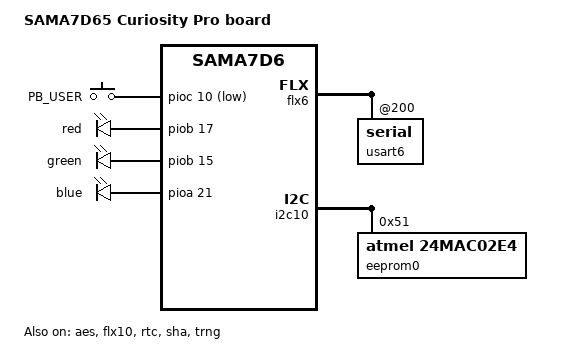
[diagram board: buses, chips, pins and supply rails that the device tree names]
/*
 * Copyright (C) 2026 Microchip Technology Inc.
 *
 * SPDX-License-Identifier: Apache-2.0
 *
 */

/dts-v1/;
#include <common/freq.h>
#include <dt-bindings/sam/sama7d6/sama7d65/sama7d65-pinctrl.h>
#include <microchip/sam/sama7/sama7d6/sama7d65.dtsi>
#include <zephyr/dt-bindings/mfd/mfd_mchp_sam_flexcom.h>
#include <zephyr/dt-bindings/gpio/gpio.h>
#include <zephyr/dt-bindings/gpio/microchip-sam-gpio.h>
#include <zephyr/dt-bindings/input/input-event-codes.h>

/ {
	compatible = "microchip,sama7d65-cpro", "microchip,sama7d6", "microchip,sama7";
	model = "SAMA7D65 Curiosity Pro board";

	aliases {
		led0 = &led_green;
		eeprom-0 = &eeprom0;
		rtc = &rtc;
		sw0 = &button_user;
	};

	chosen {
		zephyr,sram = &ddram;
		zephyr,console = &usart6;
		zephyr,entropy = &trng;
		zephyr,shell-uart = &usart6;
		zephyr,system-timer = &pit64b0;
	};

	clocks {
		main_xtal {
			clock-frequency = <DT_FREQ_M(24)>;
		};

		slow_xtal {
			clock-frequency = <32768>;
		};
	};

	gpio_keys {
		compatible = "gpio-keys";
		status = "okay";

		button_user: button_0 {
			label = "PB_USER";
			gpios = <&pioc 10 (GPIO_PULL_UP | GPIO_ACTIVE_LOW)>;
			zephyr,code = <INPUT_KEY_0>;
		};
	};

	leds {
		compatible = "gpio-leds";
		status = "okay";

		led_red: red {
			label = "red";
			gpios = <&piob 17 GPIO_ACTIVE_HIGH>;
		};

		led_green: green {
			label = "green";
			gpios = <&piob 15 GPIO_ACTIVE_HIGH>;
		};

		led_blue: blue {
			label = "blue";
			gpios = <&pioa 21 GPIO_ACTIVE_HIGH>;
		};
	};

	ddram: ddram@60000000 {
		compatible = "mmio-sram";
		reg = <0x60000000 DT_SIZE_M(1024)>;
		device_type = "memory";
	};
};

&aes {
	status = "okay";
};

&flx6 {
	mchp,flexcom-mode = <SAM_FLEXCOM_MODE_USART>;
	status = "okay";

	usart6: serial@200 {
		current-speed = <115200>;
		pinctrl-0 = <&pinctrl_flx6_default>;
		pinctrl-names = "default";
		status = "okay";
	};
};

&flx10 {
	mchp,flexcom-mode = <SAM_FLEXCOM_MODE_TWI>;
	status = "okay";

	i2c10: i2c10@600 {
		pinctrl-0 = <&pinctrl_i2c10_default>;
		pinctrl-names = "default";
		status = "okay";

		/* U12 - 24AA025E48 */
		eeprom0: eeprom0@51 {
			compatible = "atmel,24mac02e4", "atmel,at24";
			reg = <0x51>;
			address-width = <8>;
			pagesize = <16>;
			size = <256>;
			timeout = <5>;
			status = "okay";

			nvmem-layout {
				compatible = "fixed-layout";
				#address-cells = <1>;
				#size-cells = <1>;

				eeprom0_eui48: eui48@fa {
					reg = <0xfa 6>;
					#nvmem-cell-cells = <0>;
				};
			};
		};
	};
};

&pinctrl {
	pinctrl_flx6_default: flx6_default {
		group1 {
			pinmux = <PIN_PD18__FLEXCOM6_IO0>,
				 <PIN_PD19__FLEXCOM6_IO1>;
			bias-disable;
		};
	};

	pinctrl_i2c10_default: i2c10_default {
		group1 {
			pinmux = <PIN_PB20__FLEXCOM10_IO0>,
				 <PIN_PB19__FLEXCOM10_IO1>;
			bias-disable;
		};
	};
};

&pit64b0 {
	clock-frequency = <DT_FREQ_M(10)>;
};

&rtc {
	status = "okay";
};

&sha {
	status = "okay";
};

&trng {
	status = "okay";
};
